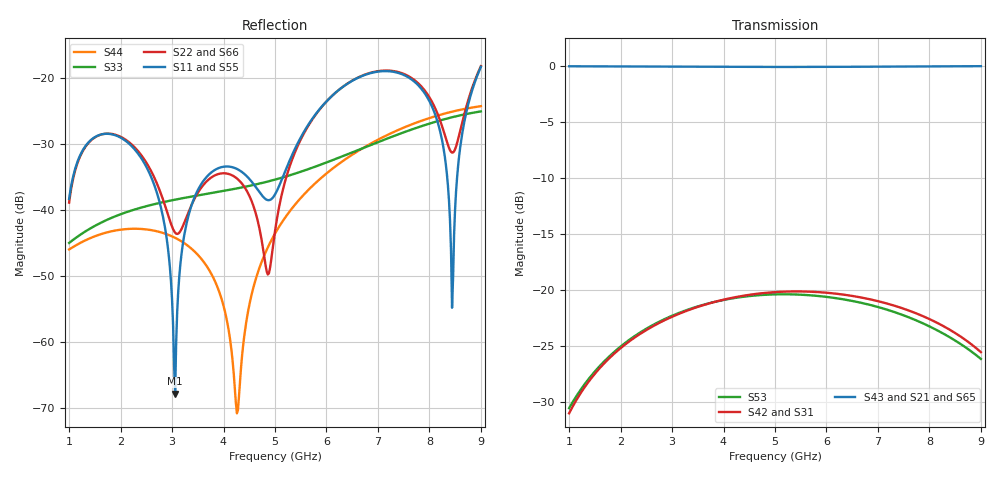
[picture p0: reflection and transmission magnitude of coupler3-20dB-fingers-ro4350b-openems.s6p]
! openEMS result for the finger-loaded 3-line 20 dB coupler on JLC RO4350B 0.508 mm, 6 cells, square outer turns (#41, #60, #61; edge cell 0.0217 mm, --fine 0.0217: isolation below -45 dB moves with the mesh)
# Hz S RI R 50
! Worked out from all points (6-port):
!   401 points, 1 GHz to 9 GHz, reference 50 ohm
!   strongest paths, dB at 1 GHz, 3 GHz, 5 GHz, 7 GHz, 9 GHz:
!     S43: 0.0, -0.1, -0.1, -0.1, 0.0
!     S21: -0.1, -0.1, -0.1, -0.2, -0.2
!     S65: -0.1, -0.1, -0.1, -0.2, -0.2
!     S42: -31.0, -22.4, -20.2, -21.0, -25.5
!     S31: -31.0, -22.4, -20.2, -21.0, -25.6
!     S53: -30.5, -22.3, -20.4, -21.5, -26.1
!   lowest |S11| = -67.9 dB at 3.06 GHz (marker M1), VSWR 1.00, Z = 50 - j0.0245 ohm
!   |S11| at or under -10 dB: start of sweep to end of sweep
